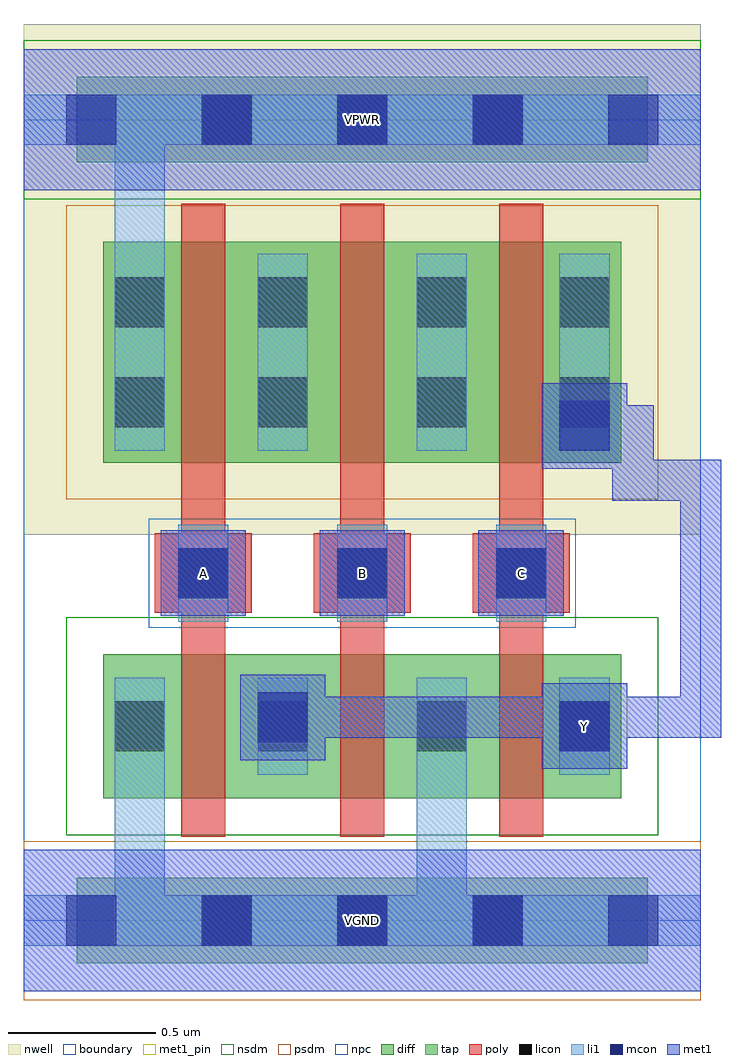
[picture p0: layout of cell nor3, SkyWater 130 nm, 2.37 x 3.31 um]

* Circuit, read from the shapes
.subckt nor3 A B C VGND VPWR Y
XM1 Y A VGND VGND sky130_fd_pr__nfet_01v8 w=0.49 l=0.15
XM2 VGND B Y VGND sky130_fd_pr__nfet_01v8 w=0.49 l=0.15
XM3 Y C VGND VGND sky130_fd_pr__nfet_01v8 w=0.49 l=0.15
XM4 n1 A VPWR VPWR sky130_fd_pr__pfet_01v8 w=0.75 l=0.15
XM5 n2 B n1 VPWR sky130_fd_pr__pfet_01v8 w=0.75 l=0.15
XM6 Y C n2 VPWR sky130_fd_pr__pfet_01v8 w=0.75 l=0.15
.ends

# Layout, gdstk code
import gdstk
lib = gdstk.Library(unit=1e-6, precision=1e-09)
def R(c, l, rs):  # rectangles x0, y0, x1, y1
    for r in rs: c.add(gdstk.rectangle(r[:2], r[2:], *l))
def A(c, l, x, y, w, h, nx, ny, dx, dy):  # array of equal rectangles
    R(c, l, [(x+i*dx, y+j*dy, x+i*dx+w, y+j*dy+h) for i in range(nx) for j in range(ny)])
nwell = (64, 20)
diff = (65, 20)
tap = (65, 44)
poly = (66, 20)
licon = (66, 44)
li1 = (67, 20)
mcon = (67, 44)
met1_pin = (68, 16)
met1 = (68, 20)
nsdm = (93, 44)
psdm = (94, 20)
npc = (95, 20)
boundary = (235, 4)

nor3 = lib.new_cell('nor3')
R(nor3, nwell, [(0,1.31,2.3,3.045)])
R(nor3, diff, [(0.27,0.415,2.03,0.905), (0.27,1.555,2.03,2.305)])
R(nor3, tap, [(0.18,-0.145,2.12,0.145), (0.18,2.575,2.12,2.865)])
A(nor3, poly, 0.535, 0.285, 0.15, 2.15, 3, 1, 0.54, 0)
A(nor3, poly, 0.445, 1.045, 0.33, 0.27, 3, 1, 0.54, 0)
A(nor3, licon, 0.605, -0.085, 0.17, 0.17, 3, 2, 0.46, 2.72)
A(nor3, licon, 0.525, 1.095, 0.17, 0.17, 3, 1, 0.54, 0)
R(nor3, licon, [(0.31,0.575,0.48,0.745), (0.795,0.575,0.965,0.745), (1.335,0.575,1.505,0.745), (1.82,0.575,1.99,0.745), (0.31,1.675,0.48,1.845), (0.795,1.675,0.965,1.845), (1.335,1.675,1.505,1.845), (1.82,1.675,1.99,1.845), (0.31,2.015,0.48,2.185), (0.795,2.015,0.965,2.185), (1.335,2.015,1.505,2.185), (1.82,2.015,1.99,2.185)])
A(nor3, li1, 0.525, 1.015, 0.17, 0.33, 3, 1, 0.54, 0)
R(nor3, li1, [(0,-0.085,2.3,0.085), (0.31,-0.085,0.48,0.825), (1.335,-0.085,1.505,0.825), (0.31,0.495,0.48,0.825), (0.795,0.495,0.965,0.825), (1.335,0.495,1.505,0.825), (1.82,0.495,1.99,0.825), (0.31,1.595,0.48,2.265), (0.31,1.595,0.48,2.805), (0.795,1.595,0.965,2.265), (1.335,1.595,1.505,2.265), (1.82,1.595,1.99,2.265), (0,2.635,2.3,2.805)])
A(nor3, mcon, 0.145, -0.085, 0.17, 0.17, 5, 2, 0.46, 2.72)
A(nor3, mcon, 0.525, 1.095, 0.17, 0.17, 3, 1, 0.54, 0)
R(nor3, mcon, [(1.82,0.575,1.99,0.745), (0.795,0.605,0.965,0.775), (1.82,1.595,1.99,1.765)])
A(nor3, met1_pin, 0.465, 1.035, 0.29, 0.29, 3, 1, 0.54, 0)
R(nor3, met1_pin, [(0,-0.24,2.3,0.24), (1.76,0.515,2.05,0.805), (0,2.48,2.3,2.96)])
A(nor3, met1, 0.465, 1.035, 0.29, 0.29, 3, 1, 0.54, 0)
R(nor3, met1, [(0,-0.24,2.3,0.24), (1.76,0.515,2.05,0.805), (0.735,0.545,1.025,0.835), (0.81,0.62,1.105,0.76), (0.965,0.62,1.91,0.76), (1.77,0.62,1.91,0.76), (1.77,0.62,2.37,0.76), (2.23,0.62,2.37,1.565), (2,1.425,2.14,1.75), (2,1.425,2.37,1.565), (1.76,1.535,2.05,1.825), (1.835,1.61,2.14,1.75), (0,2.48,2.3,2.96)])
R(nor3, nsdm, [(0.145,0.29,2.155,1.03), (0,2.45,2.3,2.99)])
R(nor3, psdm, [(0,-0.27,2.3,0.27), (0.145,1.43,2.155,2.43)])
R(nor3, npc, [(0.425,0.995,1.875,1.365)])
R(nor3, boundary, [(0,0,2.3,2.72)])
nor3.add(gdstk.Label('A', (0.61,1.18), layer=68, texttype=5))
nor3.add(gdstk.Label('B', (1.15,1.18), layer=68, texttype=5))
nor3.add(gdstk.Label('C', (1.69,1.18), layer=68, texttype=5))
nor3.add(gdstk.Label('Y', (1.905,0.66), layer=68, texttype=5))
nor3.add(gdstk.Label('VPWR', (1.15,2.72), layer=68, texttype=5))
nor3.add(gdstk.Label('VGND', (1.15,0), layer=68, texttype=5))
nor3.add(gdstk.Label('A', (0.61,1.18), layer=68, texttype=16))
nor3.add(gdstk.Label('B', (1.15,1.18), layer=68, texttype=16))
nor3.add(gdstk.Label('C', (1.69,1.18), layer=68, texttype=16))
nor3.add(gdstk.Label('Y', (1.905,0.66), layer=68, texttype=16))
nor3.add(gdstk.Label('VPWR', (1.15,2.72), layer=68, texttype=16))
nor3.add(gdstk.Label('VGND', (1.15,0), layer=68, texttype=16))

lib.write_gds('nor3.gds')
